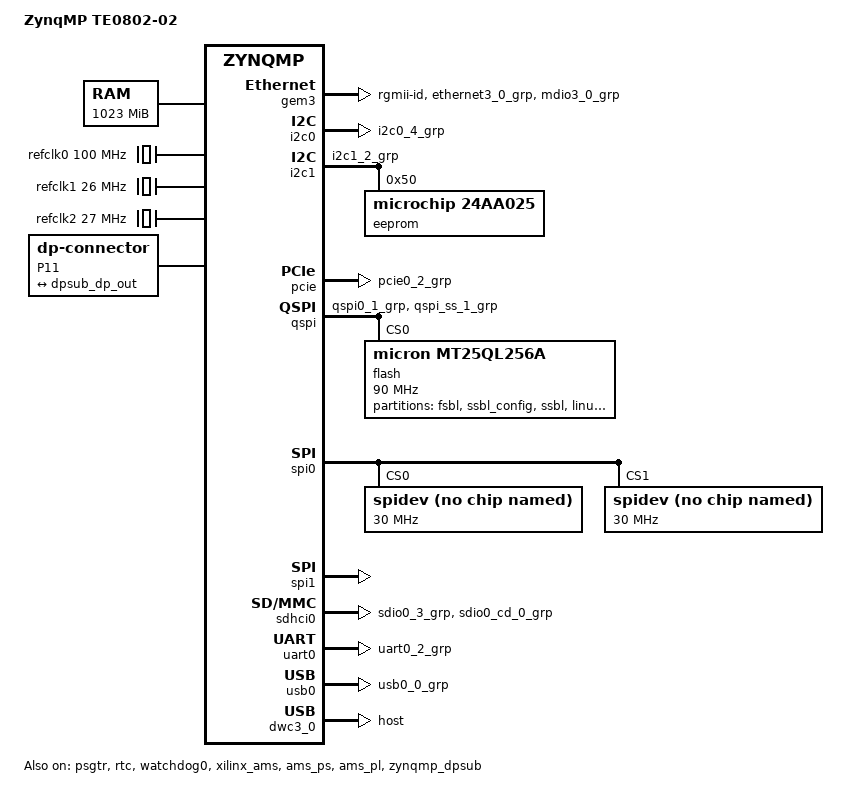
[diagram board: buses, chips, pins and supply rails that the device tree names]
// SPDX-License-Identifier: GPL-2.0+
/*
 * dts file for Trenz Electronic TE0802-02
 *
 * Author: Erik Banvik <erik.public@gmail.com>
 */

/dts-v1/;

#include "zynqmp.dtsi"
#include "zynqmp-clk-ccf.dtsi"
#include <dt-bindings/input/input.h>
#include <dt-bindings/gpio/gpio.h>
#include <dt-bindings/pinctrl/pinctrl-zynqmp.h>
#include <dt-bindings/phy/phy.h>

/ {
	model = "ZynqMP TE0802-02";
	compatible = "xlnx,zynqmp-te0802-02", "xlnx,zynqmp";

	aliases {
		ethernet0 = &gem3;
		i2c0 = &i2c0;
		i2c1 = &i2c1;
		serial0 = &uart0;
		spi0 = &qspi;
	};

	chosen {
		bootargs = "earlycon clk_ignore_unused console=ttyPS0,115200";
		stdout-path = "serial0:115200n8";
		xlnx,eeprom = &eeprom;
	};

	memory@0 {
		device_type = "memory";
		reg = <0x0 0x0 0x0 0x3ff00000>;
	};

   refclk0:psgtr_pcie_clock {
		compatible = "fixed-clock";
		#clock-cells = <0x00>;
		clock-frequency = <100000000>;
   };

	refclk1:psgtr_usb_clock {
		compatible = "fixed-clock";
		#clock-cells = <0x00>;
		clock-frequency = <26000000>;
   };
	
	refclk2:psgtr_dp_clock {
		compatible = "fixed-clock";
		#clock-cells = <0x00>;
		clock-frequency = <27000000>;
	};

	dpcon {
		compatible = "dp-connector";
		label = "P11";
		type = "full-size";

		port {
			dpcon_in: endpoint {
				remote-endpoint = <&dpsub_dp_out>;
			};
		};
	};

	cpus {
	     /delete-node/ cpu@2;
	     /delete-node/ cpu@3;
	};

	pmu {
		interrupts = <0 143 4>,
			     <0 144 4>;
		interrupt-affinity = <&cpu0>,
				     <&cpu1>;
	};

	thermal-zones {
		apu-thermal {
			cooling-maps {
				map {
					cooling-device =
						<&cpu0 (~0) (~0)>,
						<&cpu1 (~0) (~0)>;
				};
			};
		};
	};

	axi {
		/delete-node/ debug@fee10000;
		/delete-node/ debug@fef10000;
	};
};

&fpd_dma_chan1 {
	status = "okay";
};

&fpd_dma_chan2 {
	status = "okay";
};

&fpd_dma_chan3 {
	status = "okay";
};

&fpd_dma_chan4 {
	status = "okay";
};

&fpd_dma_chan5 {
	status = "okay";
};

&fpd_dma_chan6 {
	status = "okay";
};

&fpd_dma_chan7 {
	status = "okay";
};

&fpd_dma_chan8 {
	status = "okay";
};

&gem3 {
	status = "okay";
	phy-mode = "rgmii-id";
	nvmem-cells = <&eth0_addr>;
	nvmem-cell-names = "mac-address";
	pinctrl-names = "default";
	pinctrl-0 = <&pinctrl_gem3_default>;
};

&gpio {
	status = "okay";
	emio-gpio-width = <0x20>;
	gpio-mask-high = <0x00>;
	gpio-mask-low = <0x5600>;

};

&i2c0 {
	status = "okay";
	pinctrl-names = "default";
	pinctrl-0 = <&pinctrl_i2c0_default>;
};

&i2c1 {
	status = "okay";
	pinctrl-names = "default";
	pinctrl-0 = <&pinctrl_i2c1_default>;

	eeprom: eeprom@50 {
		#address-cells = <1>;
		#size-cells = <1>;
		
		compatible = "microchip,24aa025", "atmel,24c02";
		reg = <0x50>;
		pagesize = <16>;
		address-width = <8>;
		eth0_addr: eth-mac-addr@FA {
			reg = <0xFA 0x06>;
		};
	};
};

&pinctrl0 {
	status = "okay";
	pinctrl_uart0_default: uart0-default {
		mux {
			groups = "uart0_2_grp";
			function = "uart0";
		};

		conf {
			groups = "uart0_2_grp";
			slew-rate = <SLEW_RATE_SLOW>;
			power-source = <IO_STANDARD_LVCMOS18>;
		};
	};

	pinctrl_sdhci0_default: sdhci0-default {
		mux {
			groups = "sdio0_3_grp";
			function = "sdio0";
		};

		conf {
			groups = "sdio0_3_grp";
			slew-rate = <SLEW_RATE_SLOW>;
			power-source = <IO_STANDARD_LVCMOS18>;
			bias-disable;
		};

		mux-cd {
			groups = "sdio0_cd_0_grp";
			function = "sdio0_cd";
		};

		conf-cd {
			groups = "sdio0_cd_0_grp";
			bias-high-impedance;
			bias-pull-up;
			slew-rate = <SLEW_RATE_SLOW>;
			power-source = <IO_STANDARD_LVCMOS18>;
		};
	};

	pinctrl_i2c0_default: i2c0-default {
		mux {
			groups = "i2c0_4_grp";
			function = "i2c0";
		};
	};

	pinctrl_i2c1_default: i2c1-default {
		mux {
			groups = "i2c1_2_grp";
			function = "i2c1";
		};
	};

	pinctrl_qspi_default: qspi-default {
		mux {
			function = "qspi0";
			groups = "qspi0_1_grp";
		};

		mux-ss {
			function = "qspi_ss";
			groups = "qspi_ss_1_grp";
		};
	};

	pinctrl_usb0_default: usb0-default {
		mux {
			function = "usb0";
			groups = "usb0_0_grp";
		};
	};

	pinctrl_gem3_default: gem3-default {
		mux {
			function = "ethernet3";
			groups = "ethernet3_0_grp";
		};

		mux-mdio {
			function = "mdio3";
			groups = "mdio3_0_grp";
		};
	};

	pinctrl_pcie_default: pcie-default {
		mux {
			function = "pcie0";
			groups = "pcie0_2_grp";
		};
	};
};

&pcie {
	status = "okay";
	xlnx,tz-nonsecure = <0x00>;
	pinctrl-names = "default";
	pinctrl-0 = <&pinctrl_pcie_default>;
};

&psgtr {
	status = "okay";
	clocks = <&refclk0 &refclk1 &refclk2>;
	clock-names = "ref0\0ref1\0ref2";
};

&qspi {
	status = "okay";
	is-dual = <0>;
	pinctrl-names = "default";
	pinctrl-0 = <&pinctrl_qspi_default>;

	flash@0 {
		compatible = "micron,mt25ql256a", "jedec,spi-nor";
		#address-cells = <1>;
		#size-cells = <1>;
		reg = <0x0>;

		spi-tx-bus-width = <4>;
		spi-rx-bus-width = <4>;
		spi-max-frequency = <90000000>;
		// QSPI flash, 32Mb
		partition@fsbl { 
			// first stage boot loader, u-boot-spl, 1Mb
			label = "fsbl";
			reg = <0x0000000 0x0100000>;
		};
		partition@ssbl_config { 
			// second stage boot loader configuration, 1Mb
			label = "ssbl_config";
			reg = <0x0100000 0x0100000>;
		};
		partition@ssbl { 
			// second stage boot loader, u-boot, 4Mb
			label = "ssbl";
			reg = <0x0200000 0x0400000>;
		};
		partition@linux { 
			// Linux kernel, 10Mb
			label = "linux";
			reg = <0x0600000 0x0a00000>;
		};
		// Data, 16Mb
		partition@data { 
			label = "data";
			reg = <0x1000000 0x1000000>;
		};
	};
};

&spi0 {
	status = "okay";
	is-decoded-cs = <0>;
	num-cs = <2>;

	spidev@0 {
		compatible = "rohm,dh2228fv";
		spi-max-frequency = <30000000>;
		reg = <0>; // chip select
	};
	spidev@1 {
		compatible = "rohm,dh2228fv";
		spi-max-frequency = <30000000>;
		reg = <1>; // chip select
	};
};

&spi1 {
	status = "okay";
};

&rtc {
	status = "okay";
};

&sdhci0 {
	status = "okay";
	pinctrl-names = "default";
	pinctrl-0 = <&pinctrl_sdhci0_default>;
	clock-frequency = <187500000>;
	xlnx,mio-bank = <0>;
	no-1-8-v;
	disable-wp;
};

&uart0 {
	status = "okay";
	pinctrl-names = "default";
	pinctrl-0 = <&pinctrl_uart0_default>;
};

&usb0 {
	status = "okay";
	xlnx,tz-nonsecure = <0x01>;
	xlnx,usb-polarity = <0x00>;
	xlnx,usb-reset-mode = <0x00>;
	pinctrl-names = "default";
	pinctrl-0 = <&pinctrl_usb0_default>;
};

&dwc3_0 {
	status = "okay";
	dr_mode = "host";
	snps,usb3_lpm_capable;
	maximum-speed = "super-speed";
};

&watchdog0 {
	status = "okay";
};

&xilinx_ams {
	status = "okay";
};

&ams_ps {
	status = "okay";
};

&ams_pl {
	status = "okay";
};

&zynqmp_dpdma {
	status = "okay";
};

&zynqmp_dpsub {
	status = "okay";
	phy-names = "dp-phy0", "dp-phy1";
	phys = <&psgtr 3 PHY_TYPE_DP 0 2>,
	       <&psgtr 2 PHY_TYPE_DP 1 2>;

	ports {
		#address-cells = <1>;
		#size-cells = <0>;
		
		port@5 {
			reg = <5>;
			dpsub_dp_out: endpoint {
				remote-endpoint = <&dpcon_in>;
			};
		};
	};
};
